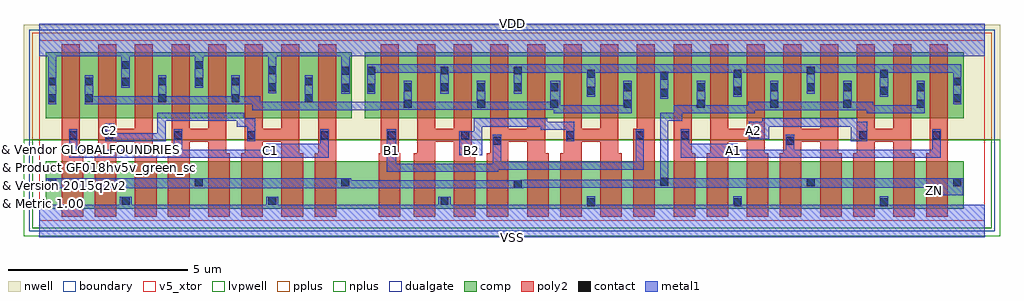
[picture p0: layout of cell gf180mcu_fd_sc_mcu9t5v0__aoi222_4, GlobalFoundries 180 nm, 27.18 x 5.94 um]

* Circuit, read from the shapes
.subckt gf180mcu_fd_sc_mcu9t5v0__aoi222_4 A1 A2 B1 B2 C1 C2 VDD VSS ZN
XM1 n1 C1 ZN VSUBS nfet_05v0 w=1.32u l=0.6u
XM2 VSS C2 n1 VSUBS nfet_05v0 w=1.32u l=0.6u
XM3 n2 C2 VSS VSUBS nfet_05v0 w=1.32u l=0.6u
XM4 ZN C1 n2 VSUBS nfet_05v0 w=1.32u l=0.6u
XM5 n3 C1 ZN VSUBS nfet_05v0 w=1.32u l=0.6u
XM6 VSS C2 n3 VSUBS nfet_05v0 w=1.32u l=0.6u
XM7 n4 C2 VSS VSUBS nfet_05v0 w=1.32u l=0.6u
XM8 ZN C1 n4 VSUBS nfet_05v0 w=1.32u l=0.6u
XM9 n5 B1 ZN VSUBS nfet_05v0 w=1.32u l=0.6u
XM10 VSS B2 n5 VSUBS nfet_05v0 w=1.32u l=0.6u
XM11 n6 B2 VSS VSUBS nfet_05v0 w=1.32u l=0.6u
XM12 ZN B1 n6 VSUBS nfet_05v0 w=1.32u l=0.6u
XM13 n7 B1 ZN VSUBS nfet_05v0 w=1.32u l=0.6u
XM14 VSS B2 n7 VSUBS nfet_05v0 w=1.32u l=0.6u
XM15 n8 B2 VSS VSUBS nfet_05v0 w=1.32u l=0.6u
XM16 ZN B1 n8 VSUBS nfet_05v0 w=1.32u l=0.6u
XM17 n9 A1 ZN VSUBS nfet_05v0 w=1.32u l=0.6u
XM18 VSS A2 n9 VSUBS nfet_05v0 w=1.32u l=0.6u
XM19 n10 A2 VSS VSUBS nfet_05v0 w=1.32u l=0.6u
XM20 ZN A1 n10 VSUBS nfet_05v0 w=1.32u l=0.6u
XM21 n11 A1 ZN VSUBS nfet_05v0 w=1.32u l=0.6u
XM22 VSS A2 n11 VSUBS nfet_05v0 w=1.32u l=0.6u
XM23 n12 A2 VSS VSUBS nfet_05v0 w=1.32u l=0.6u
XM24 ZN A1 n12 VSUBS nfet_05v0 w=1.32u l=0.6u
XM25 n13 C1 VDD n14 pfet_05v0 w=1.83u l=0.5u m=4
XM26 VDD C2 n13 n14 pfet_05v0 w=1.83u l=0.5u m=4
XM27 n13 B1 n15 n14 pfet_05v0 w=1.83u l=0.5u m=4
XM28 n15 B2 n13 n14 pfet_05v0 w=1.83u l=0.5u m=4
XM29 ZN A1 n15 n14 pfet_05v0 w=1.83u l=0.5u m=4
XM30 n15 A2 ZN n14 pfet_05v0 w=1.83u l=0.5u m=4
.ends

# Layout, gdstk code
import gdstk
lib = gdstk.Library(unit=1e-6, precision=1e-09)
def R(c, l, rs):  # rectangles x0, y0, x1, y1
    for r in rs: c.add(gdstk.rectangle(r[:2], r[2:], *l))
def A(c, l, x, y, w, h, nx, ny, dx, dy):  # array of equal rectangles
    R(c, l, [(x+i*dx, y+j*dy, x+i*dx+w, y+j*dy+h) for i in range(nx) for j in range(ny)])
def P(c, l, *ps):  # polygons
    for p in ps: c.add(gdstk.Polygon(p, *l))
boundary = (0, 0)
nwell = (21, 0)
comp = (22, 0)
poly2 = (30, 0)
pplus = (31, 0)
nplus = (32, 0)
contact = (33, 0)
metal1 = (34, 0)
dualgate = (55, 0)
v5_xtor = (112, 1)
lvpwell = (204, 0)

gf180mcu_fd_sc_mcu9t5v0_ = lib.new_cell('gf180mcu_fd_sc_mcu9t5v0__aoi222_4')
R(gf180mcu_fd_sc_mcu9t5v0_, boundary, [(0,0,26.32,5.04)])
R(gf180mcu_fd_sc_mcu9t5v0_, nwell, [(-0.43,2.265,26.75,5.47)])
R(gf180mcu_fd_sc_mcu9t5v0_, comp, [(0.18,0.345,25.74,1.665), (0.18,2.865,8.7,4.695), (9.06,2.865,25.74,4.695)])
P(gf180mcu_fd_sc_mcu9t5v0_, poly2, [(0.62,0.125),(0.62,4.915),(1.12,4.915),(1.12,1.885),(1.22,1.885),(1.22,0.125)],
  [(1.54,0.125),(1.54,1.885),(1.64,1.885),(1.64,4.915),(2.14,4.915),(2.14,2.565),(2.66,2.565),(2.66,4.915),(3.16,4.915),(3.16,1.885),(3.26,1.885),(3.26,0.125),(2.66,0.125),(2.66,2.205),(2.14,2.205),(2.14,0.125)],
  [(3.58,0.125),(3.58,1.885),(3.68,1.885),(3.68,4.915),(4.18,4.915),(4.18,2.565),(4.7,2.565),(4.7,4.915),(5.2,4.915),(5.2,1.885),(5.3,1.885),(5.3,0.125),(4.7,0.125),(4.7,2.205),(4.18,2.205),(4.18,0.125)],
  [(5.62,0.125),(5.62,1.885),(5.72,1.885),(5.72,4.915),(6.22,4.915),(6.22,2.565),(6.74,2.565),(6.74,4.915),(7.24,4.915),(7.24,1.885),(7.34,1.885),(7.34,0.125),(6.74,0.125),(6.74,2.205),(6.22,2.205),(6.22,0.125)],
  [(7.66,0.125),(7.66,1.885),(7.76,1.885),(7.76,4.915),(8.26,4.915),(8.26,0.125)],
  [(9.45,0.125),(9.45,1.885),(9.5,1.885),(9.5,4.915),(10,4.915),(10,1.885),(10.05,1.885),(10.05,0.125)],
  [(10.42,0.125),(10.42,1.885),(10.52,1.885),(10.52,4.915),(11.02,4.915),(11.02,2.565),(11.54,2.565),(11.54,4.915),(12.04,4.915),(12.04,1.885),(12.14,1.885),(12.14,0.125),(11.54,0.125),(11.54,2.205),(11.02,2.205),(11.02,0.125)],
  [(12.46,0.125),(12.46,1.885),(12.56,1.885),(12.56,4.915),(13.06,4.915),(13.06,2.565),(13.58,2.565),(13.58,4.915),(14.08,4.915),(14.08,1.885),(14.18,1.885),(14.18,0.125),(13.58,0.125),(13.58,2.205),(13.06,2.205),(13.06,0.125)],
  [(14.5,0.125),(14.5,1.885),(14.6,1.885),(14.6,4.915),(15.1,4.915),(15.1,2.565),(15.62,2.565),(15.62,4.915),(16.12,4.915),(16.12,1.885),(16.22,1.885),(16.22,0.125),(15.62,0.125),(15.62,2.205),(15.1,2.205),(15.1,0.125)],
  [(16.54,0.125),(16.54,2.565),(16.64,2.565),(16.64,4.915),(17.14,4.915),(17.14,0.125)],
  [(17.66,0.125),(17.66,4.915),(18.16,4.915),(18.16,1.885),(18.26,1.885),(18.26,0.125)],
  [(18.58,0.125),(18.58,1.885),(18.68,1.885),(18.68,4.915),(19.18,4.915),(19.18,2.565),(19.7,2.565),(19.7,4.915),(20.2,4.915),(20.2,1.885),(20.3,1.885),(20.3,0.125),(19.7,0.125),(19.7,2.205),(19.18,2.205),(19.18,0.125)],
  [(20.62,0.125),(20.62,1.885),(20.72,1.885),(20.72,4.915),(21.22,4.915),(21.22,2.565),(21.74,2.565),(21.74,4.915),(22.24,4.915),(22.24,1.885),(22.34,1.885),(22.34,0.125),(21.74,0.125),(21.74,2.205),(21.22,2.205),(21.22,0.125)],
  [(22.66,0.125),(22.66,1.885),(22.76,1.885),(22.76,4.915),(23.26,4.915),(23.26,2.565),(23.78,2.565),(23.78,4.915),(24.28,4.915),(24.28,1.885),(24.38,1.885),(24.38,0.125),(23.78,0.125),(23.78,2.205),(23.26,2.205),(23.26,0.125)],
  [(24.7,0.125),(24.7,1.885),(24.8,1.885),(24.8,4.915),(25.3,4.915),(25.3,0.125)])
R(gf180mcu_fd_sc_mcu9t5v0_, pplus, [(-0.2,2.265,26.52,5.24)])
R(gf180mcu_fd_sc_mcu9t5v0_, nplus, [(-0.2,-0.2,26.52,2.265)])
A(gf180mcu_fd_sc_mcu9t5v0_, contact, 15.25, 0.415, 0.22, 0.22, 3, 2, 4.08, 3.105)
A(gf180mcu_fd_sc_mcu9t5v0_, contact, 0.25, 0.97, 0.22, 0.22, 3, 1, 4.08, 0)
A(gf180mcu_fd_sc_mcu9t5v0_, contact, 3.75, 2.275, 0.22, 0.22, 3, 1, 2.04, 0)
A(gf180mcu_fd_sc_mcu9t5v0_, contact, 10.15, 3.15, 0.22, 0.22, 8, 2, 2.04, 0.47)
A(gf180mcu_fd_sc_mcu9t5v0_, contact, 1.27, 3.305, 0.22, 0.22, 4, 2, 2.04, 0.47)
A(gf180mcu_fd_sc_mcu9t5v0_, contact, 15.25, 3.99, 0.22, 0.22, 3, 1, 4.08, 0)
R(gf180mcu_fd_sc_mcu9t5v0_, contact, [(2.29,0.455,2.51,0.675), (6.37,0.455,6.59,0.675), (11.17,0.455,11.39,0.675), (13.21,0.915,13.43,1.135), (21.37,0.97,21.59,1.19), (25.45,0.97,25.67,1.19), (17.29,0.985,17.51,1.205), (12.63,2.12,12.85,2.34), (20.79,2.12,21.01,2.34), (0.83,2.275,1.05,2.495), (1.835,2.275,2.055,2.495), (9.705,2.275,9.925,2.495), (11.75,2.275,11.97,2.495), (14.67,2.275,14.89,2.495), (16.61,2.275,16.83,2.495), (17.87,2.275,18.09,2.495), (19.81,2.275,20.03,2.495), (22.83,2.275,23.05,2.495), (24.87,2.275,25.09,2.495), (0.25,3.305,0.47,3.525), (25.45,3.305,25.67,3.525), (17.29,3.465,17.51,3.685), (8.41,3.605,8.63,3.825), (9.13,3.605,9.35,3.825), (11.17,3.61,11.39,3.83), (13.21,3.61,13.43,3.83), (21.37,3.61,21.59,3.83), (6.37,3.62,6.59,3.84), (2.29,3.765,2.51,3.985), (4.33,3.765,4.55,3.985), (0.25,3.775,0.47,3.995), (25.45,3.775,25.67,3.995), (17.29,3.935,17.51,4.155), (8.41,4.075,8.63,4.295), (9.13,4.075,9.35,4.295), (11.17,4.08,11.39,4.3), (13.21,4.08,13.43,4.3), (21.37,4.08,21.59,4.3), (6.37,4.09,6.59,4.31), (2.29,4.235,2.51,4.455), (4.33,4.235,4.55,4.455)])
P(gf180mcu_fd_sc_mcu9t5v0_, metal1, [(1.83,2.215),(1.83,2.71),(2.09,2.71),(2.09,2.445),(3.285,2.445),(3.285,3.015),(5.71,3.015),(5.71,2.855),(6.015,2.855),(6.015,2.215),(5.785,2.215),(5.785,2.625),(5.49,2.625),(5.49,2.785),(3.515,2.785),(3.515,2.215)],
  [(0.825,1.755),(0.825,2.555),(1.055,2.555),(1.055,1.985),(3.745,1.985),(3.745,2.555),(3.975,2.555),(3.975,1.985),(6.31,1.985),(6.31,2.15),(7.825,2.15),(7.825,2.555),(8.055,2.555),(8.055,1.755)],
  [(11.69,1.83),(11.69,2.5),(12.1,2.5),(12.1,2.86),(14.14,2.86),(14.14,2.77),(14.895,2.77),(14.895,2.215),(14.665,2.215),(14.665,2.54),(13.955,2.54),(13.955,2.63),(12.33,2.63),(12.33,1.83)],
  [(14.325,3),(14.325,3.09),(9.455,3.09),(9.455,3.085),(5.93,3.085),(5.93,3.245),(1.265,3.245),(1.265,4.055),(1.495,4.055),(1.495,3.475),(3.305,3.475),(3.305,4.055),(3.535,4.055),(3.535,3.475),(5.345,3.475),(5.345,4.055),(5.575,4.055),(5.575,3.475),(6.15,3.475),(6.15,3.315),(7.385,3.315),(7.385,4.055),(7.615,4.055),(7.615,3.315),(9.405,3.315),(9.405,3.32),(10.145,3.32),(10.145,3.9),(10.375,3.9),(10.375,3.32),(12.185,3.32),(12.185,3.9),(12.415,3.9),(12.415,3.32),(14.225,3.32),(14.225,3.9),(14.51,3.9),(14.51,3.23),(16.265,3.23),(16.265,3.9),(16.495,3.9),(16.495,3)],
  [(9.67,1.37),(9.67,2.555),(9.93,2.555),(9.93,1.6),(12.625,1.6),(12.625,2.4),(12.855,2.4),(12.855,1.655),(16.605,1.655),(16.605,2.555),(16.835,2.555),(16.835,1.425),(12.775,1.425),(12.775,1.37)],
  [(22.595,2.215),(22.595,2.63),(20.32,2.63),(20.32,2.27),(19.75,2.27),(19.75,2.77),(20.135,2.77),(20.135,2.86),(22.78,2.86),(22.78,2.77),(23.055,2.77),(23.055,2.215)],
  [(17.865,1.755),(17.865,2.555),(18.095,2.555),(18.095,2.15),(19.45,2.15),(19.45,1.985),(20.785,1.985),(20.785,2.4),(21.015,2.4),(21.015,1.985),(24.865,1.985),(24.865,2.555),(25.095,2.555),(25.095,1.755)],
  [(25.445,3.245),(25.445,4.13),(23.635,4.13),(23.635,3.46),(23.405,3.46),(23.405,4.13),(21.595,4.13),(21.595,3.55),(21.365,3.55),(21.365,4.13),(19.555,4.13),(19.555,3.46),(19.325,3.46),(19.325,4.13),(17.515,4.13),(17.515,3.405),(17.285,3.405),(17.285,4.13),(15.475,4.13),(15.475,3.46),(15.245,3.46),(15.245,4.13),(13.435,4.13),(13.435,3.55),(13.205,3.55),(13.205,4.13),(11.395,4.13),(11.395,3.55),(11.165,3.55),(11.165,4.13),(9.355,4.13),(9.355,3.545),(9.125,3.545),(9.125,4.36),(25.675,4.36),(25.675,3.245)],
  [(24.73,0.71),(24.73,0.925),(13.49,0.925),(13.49,0.91),(0.19,0.91),(0.19,1.195),(8.69,1.195),(8.69,1.14),(13.405,1.14),(13.405,1.155),(17.285,1.155),(17.285,3.015),(17.665,3.015),(17.665,3.23),(18.305,3.23),(18.305,3.9),(18.535,3.9),(18.535,3.23),(19.74,3.23),(19.74,3.32),(20.345,3.32),(20.345,3.9),(20.575,3.9),(20.575,3.32),(22.385,3.32),(22.385,3.9),(22.615,3.9),(22.615,3.32),(23.22,3.32),(23.22,3.23),(24.425,3.23),(24.425,3.9),(24.655,3.9),(24.655,3),(23.035,3),(23.035,3.09),(19.925,3.09),(19.925,3),(17.895,3),(17.895,2.785),(17.515,2.785),(17.515,1.195),(25.73,1.195),(25.73,0.71)],
  [(0,-0.45),(0,0.45),(2.23,0.45),(2.23,0.68),(2.57,0.68),(2.57,0.45),(6.31,0.45),(6.31,0.68),(6.65,0.68),(6.65,0.45),(11.11,0.45),(11.11,0.68),(11.45,0.68),(11.45,0.45),(15.245,0.45),(15.245,0.695),(15.475,0.695),(15.475,0.45),(19.325,0.45),(19.325,0.695),(19.555,0.695),(19.555,0.45),(23.405,0.45),(23.405,0.695),(23.635,0.695),(23.635,0.45),(26.32,0.45),(26.32,-0.45)],
  [(0.245,3.245),(0.245,4.59),(0,4.59),(0,5.49),(26.32,5.49),(26.32,4.59),(8.635,4.59),(8.635,3.545),(8.405,3.545),(8.405,4.59),(6.595,4.59),(6.595,3.56),(6.365,3.56),(6.365,4.59),(4.555,4.59),(4.555,3.705),(4.325,3.705),(4.325,4.59),(2.515,4.59),(2.515,3.705),(2.285,3.705),(2.285,4.59),(0.475,4.59),(0.475,3.245)])
R(gf180mcu_fd_sc_mcu9t5v0_, dualgate, [(-0.28,-0.28,26.6,5.32)])
R(gf180mcu_fd_sc_mcu9t5v0_, v5_xtor, [(0,0,26.32,5.04)])
R(gf180mcu_fd_sc_mcu9t5v0_, lvpwell, [(-0.43,-0.43,26.75,2.265)])
gf180mcu_fd_sc_mcu9t5v0_.add(gdstk.Label('A1', (19.32,1.96), layer=34, texttype=10))
gf180mcu_fd_sc_mcu9t5v0_.add(gdstk.Label('A2', (19.88,2.52), layer=34, texttype=10))
gf180mcu_fd_sc_mcu9t5v0_.add(gdstk.Label('B1', (9.8,1.96), layer=34, texttype=10))
gf180mcu_fd_sc_mcu9t5v0_.add(gdstk.Label('B2', (12.04,1.96), layer=34, texttype=10))
gf180mcu_fd_sc_mcu9t5v0_.add(gdstk.Label('C1', (6.44,1.96), layer=34, texttype=10))
gf180mcu_fd_sc_mcu9t5v0_.add(gdstk.Label('C2', (1.96,2.52), layer=34, texttype=10))
gf180mcu_fd_sc_mcu9t5v0_.add(gdstk.Label('VDD', (13.16,5.49), layer=34, texttype=10))
gf180mcu_fd_sc_mcu9t5v0_.add(gdstk.Label('VSS', (13.16,-0.45), layer=34, texttype=10))
gf180mcu_fd_sc_mcu9t5v0_.add(gdstk.Label('ZN', (24.92,0.84), layer=34, texttype=10))
gf180mcu_fd_sc_mcu9t5v0_.add(gdstk.Label('& Vendor GLOBALFOUNDRIES', (0,2), layer=63, texttype=63))
gf180mcu_fd_sc_mcu9t5v0_.add(gdstk.Label('& Product GF018hv5v_green_sc9', (0,1.5), layer=63, texttype=63))
gf180mcu_fd_sc_mcu9t5v0_.add(gdstk.Label('& Version 2015q2v2', (0,1), layer=63, texttype=63))
gf180mcu_fd_sc_mcu9t5v0_.add(gdstk.Label('& Metric 1.00', (0,0.5), layer=63, texttype=63))

lib.write_gds('gf180mcu_fd_sc_mcu9t5v0__aoi222_4.gds')
